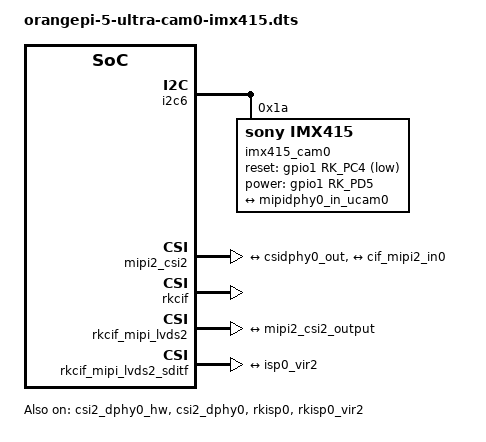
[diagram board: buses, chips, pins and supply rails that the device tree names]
/dts-v1/;
/plugin/;

#include <dt-bindings/clock/rk3588-cru.h>
#include <dt-bindings/power/rk3588-power.h>
#include <dt-bindings/gpio/gpio.h>
#include <dt-bindings/pinctrl/rockchip.h>

/ {
	metadata {
		title = "Enable IMX415 on CAM0";
		compatible = "rockchip,rk3588-orangepi-5-ultra", "rockchip,rk3588";
		category = "camera";
		exclusive = "csi2_dphy0";
		description = "Enable IMX415 4K camera on CAM0 (i2c6).";
	};
};

&i2c6 {
	status = "okay";
	#address-cells = <1>;
	#size-cells = <0>;

	imx415_cam0: imx415@1a {
		status = "okay";
		compatible = "sony,imx415";
		reg = <0x1a>;
		clocks = <&cru CLK_MIPI_CAMARAOUT_M1>;
		clock-names = "xvclk";
		pinctrl-names = "default";
		pinctrl-0 = <&mipim1_camera1_clk>;
		reset-gpios = <&gpio1 RK_PC4 GPIO_ACTIVE_LOW>;
		power-gpios = <&gpio1 RK_PD5 GPIO_ACTIVE_HIGH>;
		rockchip,camera-module-index = <0>;
		rockchip,camera-module-facing = "back";
		rockchip,camera-module-name = "CMK-OT2022-PX1";
		rockchip,camera-module-lens-name = "IR0147-50IRC-8M-F20";
		port {
			imx415_cam0_out: endpoint {
				remote-endpoint = <&mipidphy0_in_ucam0>;
				data-lanes = <1 2 3 4>;
			};
		};
	};
};

&csi2_dphy0_hw {
	status = "okay";
};

&csi2_dphy0 {
	status = "okay";

	ports {
		#address-cells = <1>;
		#size-cells = <0>;

		port@0 {
			reg = <0>;
			#address-cells = <1>;
			#size-cells = <0>;

			mipidphy0_in_ucam0: endpoint@1 {
				reg = <1>;
				remote-endpoint = <&imx415_cam0_out>;
				data-lanes = <1 2 3 4>;
			};
		};

		port@1 {
			reg = <1>;
			#address-cells = <1>;
			#size-cells = <0>;

			csidphy0_out: endpoint@0 {
				reg = <0>;
				remote-endpoint = <&mipi2_csi2_input>;
			};
		};
	};
};

&mipi2_csi2 {
	status = "okay";

	ports {
		#address-cells = <1>;
		#size-cells = <0>;

		port@0 {
			reg = <0>;
			#address-cells = <1>;
			#size-cells = <0>;

			mipi2_csi2_input: endpoint@1 {
				reg = <1>;
				remote-endpoint = <&csidphy0_out>;
			};
		};

		port@1 {
			reg = <1>;
			#address-cells = <1>;
			#size-cells = <0>;

			mipi2_csi2_output: endpoint@0 {
				reg = <0>;
				remote-endpoint = <&cif_mipi2_in0>;
			};
		};
	};
};

&rkcif {
	status = "okay";
};

&rkcif_mipi_lvds2 {
	status = "okay";

	port {
		cif_mipi2_in0: endpoint {
			remote-endpoint = <&mipi2_csi2_output>;
		};
	};
};

&rkcif_mipi_lvds2_sditf {
	status = "okay";

	port {
		mipi_lvds2_sditf: endpoint {
			remote-endpoint = <&isp0_vir2>;
		};
	};
};

&rkcif_mmu {
	status = "okay";
};

&isp0_mmu {
	status = "okay";
};

&rkisp0 {
	status = "okay";
};

&rkisp0_vir2 {
	status = "okay";

	port {
		#address-cells = <1>;
		#size-cells = <0>;

		isp0_vir2: endpoint@0 {
			reg = <0>;
			remote-endpoint = <&mipi_lvds2_sditf>;
		};
	};
};
